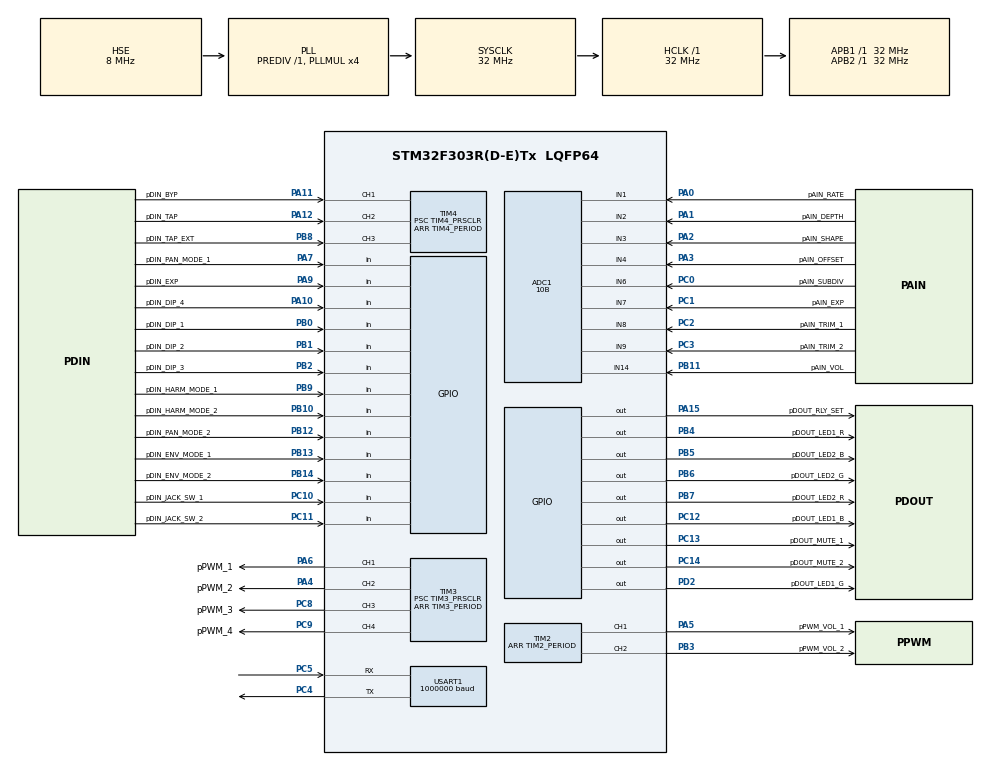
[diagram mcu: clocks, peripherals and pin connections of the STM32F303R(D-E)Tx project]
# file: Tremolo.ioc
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ADC1.Channel-10\#ChannelRegularConversion=ADC_CHANNEL_2
ADC1.Channel-11\#ChannelRegularConversion=ADC_CHANNEL_3
ADC1.Channel-12\#ChannelRegularConversion=ADC_CHANNEL_4
ADC1.Channel-13\#ChannelRegularConversion=ADC_CHANNEL_6
ADC1.Channel-14\#ChannelRegularConversion=ADC_CHANNEL_7
ADC1.Channel-15\#ChannelRegularConversion=ADC_CHANNEL_8
ADC1.Channel-16\#ChannelRegularConversion=ADC_CHANNEL_9
ADC1.Channel-17\#ChannelRegularConversion=ADC_CHANNEL_14
ADC1.Channel-9\#ChannelRegularConversion=ADC_CHANNEL_1
ADC1.ClockPrescaler=ADC_CLOCK_ASYNC_DIV1
ADC1.ContinuousConvMode=ENABLE
ADC1.DMAContinuousRequests=ENABLE
ADC1.EOCSelection=ADC_EOC_SEQ_CONV
ADC1.EnableInjectedConversion=DISABLE
ADC1.EnableRegularConversion=ENABLE
ADC1.Mode=ADC_MODE_INDEPENDENT
ADC1.NbrOfConversion=9
ADC1.NbrOfConversionFlag=1
ADC1.Offset-10\#ChannelRegularConversion=0
ADC1.Offset-11\#ChannelRegularConversion=0
ADC1.Offset-12\#ChannelRegularConversion=0
ADC1.Offset-13\#ChannelRegularConversion=0
ADC1.Offset-14\#ChannelRegularConversion=0
ADC1.Offset-15\#ChannelRegularConversion=0
ADC1.Offset-16\#ChannelRegularConversion=0
ADC1.Offset-17\#ChannelRegularConversion=0
ADC1.Offset-9\#ChannelRegularConversion=0
ADC1.OffsetNumber-10\#ChannelRegularConversion=ADC_OFFSET_NONE
ADC1.OffsetNumber-11\#ChannelRegularConversion=ADC_OFFSET_NONE
ADC1.OffsetNumber-12\#ChannelRegularConversion=ADC_OFFSET_NONE
ADC1.OffsetNumber-13\#ChannelRegularConversion=ADC_OFFSET_NONE
ADC1.OffsetNumber-14\#ChannelRegularConversion=ADC_OFFSET_NONE
ADC1.OffsetNumber-15\#ChannelRegularConversion=ADC_OFFSET_NONE
ADC1.OffsetNumber-16\#ChannelRegularConversion=ADC_OFFSET_NONE
ADC1.OffsetNumber-17\#ChannelRegularConversion=ADC_OFFSET_NONE
ADC1.OffsetNumber-9\#ChannelRegularConversion=ADC_OFFSET_NONE
ADC1.Overrun=ADC_OVR_DATA_OVERWRITTEN
ADC1.Rank-10\#ChannelRegularConversion=2
ADC1.Rank-11\#ChannelRegularConversion=3
ADC1.Rank-12\#ChannelRegularConversion=4
ADC1.Rank-13\#ChannelRegularConversion=5
ADC1.Rank-14\#ChannelRegularConversion=6
ADC1.Rank-15\#ChannelRegularConversion=7
ADC1.Rank-16\#ChannelRegularConversion=8
ADC1.Rank-17\#ChannelRegularConversion=9
ADC1.Rank-9\#ChannelRegularConversion=1
ADC1.Resolution=ADC_RESOLUTION_10B
ADC1.SamplingTime-10\#ChannelRegularConversion=ADC_SAMPLETIME_1CYCLE_5
ADC1.SamplingTime-11\#ChannelRegularConversion=ADC_SAMPLETIME_1CYCLE_5
ADC1.SamplingTime-12\#ChannelRegularConversion=ADC_SAMPLETIME_1CYCLE_5
ADC1.SamplingTime-13\#ChannelRegularConversion=ADC_SAMPLETIME_1CYCLE_5
ADC1.SamplingTime-14\#ChannelRegularConversion=ADC_SAMPLETIME_1CYCLE_5
ADC1.SamplingTime-15\#ChannelRegularConversion=ADC_SAMPLETIME_1CYCLE_5
ADC1.SamplingTime-16\#ChannelRegularConversion=ADC_SAMPLETIME_1CYCLE_5
ADC1.SamplingTime-17\#ChannelRegularConversion=ADC_SAMPLETIME_1CYCLE_5
ADC1.SamplingTime-9\#ChannelRegularConversion=ADC_SAMPLETIME_1CYCLE_5
ADC1.SamplingTimeOPAMP-10\#ChannelRegularConversion=ADC_SAMPLETIME_4CYCLES_5
ADC1.SamplingTimeOPAMP-11\#ChannelRegularConversion=ADC_SAMPLETIME_4CYCLES_5
ADC1.SamplingTimeOPAMP-12\#ChannelRegularConversion=ADC_SAMPLETIME_4CYCLES_5
ADC1.SamplingTimeOPAMP-13\#ChannelRegularConversion=ADC_SAMPLETIME_4CYCLES_5
ADC1.SamplingTimeOPAMP-14\#ChannelRegularConversion=ADC_SAMPLETIME_4CYCLES_5
ADC1.SamplingTimeOPAMP-15\#ChannelRegularConversion=ADC_SAMPLETIME_4CYCLES_5
ADC1.SamplingTimeOPAMP-16\#ChannelRegularConversion=ADC_SAMPLETIME_4CYCLES_5
ADC1.SamplingTimeOPAMP-17\#ChannelRegularConversion=ADC_SAMPLETIME_4CYCLES_5
ADC1.SamplingTimeOPAMP-9\#ChannelRegularConversion=ADC_SAMPLETIME_4CYCLES_5
ADC1.master=1
Dma.ADC1.0.Direction=DMA_PERIPH_TO_MEMORY
Dma.ADC1.0.Instance=DMA1_Channel1
Dma.ADC1.0.MemDataAlignment=DMA_MDATAALIGN_WORD
Dma.ADC1.0.MemInc=DMA_MINC_ENABLE
Dma.ADC1.0.Mode=DMA_CIRCULAR
Dma.ADC1.0.PeriphDataAlignment=DMA_PDATAALIGN_HALFWORD
Dma.ADC1.0.PeriphInc=DMA_PINC_DISABLE
Dma.ADC1.0.Priority=DMA_PRIORITY_HIGH
Dma.Request0=ADC1
Dma.Request1=TIM8_CH1
Dma.Request2=TIM8_CH2
Dma.Request3=TIM8_CH3/UP
Dma.Request4=TIM8_CH4/TRIG/COM
Dma.Request5=USART1_TX
Dma.TIM8_CH1.1.Direction=DMA_MEMORY_TO_PERIPH
Dma.TIM8_CH1.1.Instance=DMA2_Channel3
Dma.TIM8_CH1.1.MemDataAlignment=DMA_MDATAALIGN_HALFWORD
Dma.TIM8_CH1.1.MemInc=DMA_MINC_ENABLE
Dma.TIM8_CH1.1.Mode=DMA_CIRCULAR
Dma.TIM8_CH1.1.PeriphDataAlignment=DMA_PDATAALIGN_HALFWORD
Dma.TIM8_CH1.1.PeriphInc=DMA_PINC_DISABLE
Dma.TIM8_CH1.1.Priority=DMA_PRIORITY_HIGH
Dma.TIM8_CH2.2.Direction=DMA_MEMORY_TO_PERIPH
Dma.TIM8_CH2.2.Instance=DMA2_Channel5
Dma.TIM8_CH2.2.MemDataAlignment=DMA_MDATAALIGN_HALFWORD
Dma.TIM8_CH2.2.MemInc=DMA_MINC_ENABLE
Dma.TIM8_CH2.2.Mode=DMA_CIRCULAR
Dma.TIM8_CH2.2.PeriphDataAlignment=DMA_PDATAALIGN_HALFWORD
Dma.TIM8_CH2.2.PeriphInc=DMA_PINC_DISABLE
Dma.TIM8_CH2.2.Priority=DMA_PRIORITY_HIGH
Dma.TIM8_CH3/UP.3.Direction=DMA_MEMORY_TO_PERIPH
Dma.TIM8_CH3/UP.3.Instance=DMA2_Channel1
Dma.TIM8_CH3/UP.3.MemDataAlignment=DMA_MDATAALIGN_HALFWORD
Dma.TIM8_CH3/UP.3.MemInc=DMA_MINC_ENABLE
Dma.TIM8_CH3/UP.3.Mode=DMA_CIRCULAR
Dma.TIM8_CH3/UP.3.PeriphDataAlignment=DMA_PDATAALIGN_HALFWORD
Dma.TIM8_CH3/UP.3.PeriphInc=DMA_PINC_DISABLE
Dma.TIM8_CH3/UP.3.Priority=DMA_PRIORITY_HIGH
Dma.TIM8_CH4/TRIG/COM.4.Direction=DMA_MEMORY_TO_PERIPH
Dma.TIM8_CH4/TRIG/COM.4.Instance=DMA2_Channel2
Dma.TIM8_CH4/TRIG/COM.4.MemDataAlignment=DMA_MDATAALIGN_HALFWORD
Dma.TIM8_CH4/TRIG/COM.4.MemInc=DMA_MINC_ENABLE
Dma.TIM8_CH4/TRIG/COM.4.Mode=DMA_CIRCULAR
Dma.TIM8_CH4/TRIG/COM.4.PeriphDataAlignment=DMA_PDATAALIGN_HALFWORD
Dma.TIM8_CH4/TRIG/COM.4.PeriphInc=DMA_PINC_DISABLE
Dma.TIM8_CH4/TRIG/COM.4.Priority=DMA_PRIORITY_HIGH
Dma.USART1_TX.5.Direction=DMA_MEMORY_TO_PERIPH
Dma.USART1_TX.5.Instance=DMA1_Channel4
Dma.USART1_TX.5.MemDataAlignment=DMA_MDATAALIGN_BYTE
Dma.USART1_TX.5.MemInc=DMA_MINC_ENABLE
Dma.USART1_TX.5.Mode=DMA_NORMAL
Dma.USART1_TX.5.PeriphDataAlignment=DMA_PDATAALIGN_BYTE
Dma.USART1_TX.5.PeriphInc=DMA_PINC_DISABLE
Dma.USART1_TX.5.Priority=DMA_PRIORITY_LOW
Mcu.Family=STM32F3
Mcu.Name=STM32F303R(D-E)Tx
Mcu.Package=LQFP64
Mcu.UserConstants=TIM2_PERIOD,1023;TIM3_PERIOD,1023;TIM8_PRSCLR,0;TIM2_PRSCLR,0;TIM3_PRSCLR,0;TIM4_PRSCLR,1023;TIM3_CLK_DIV,0;TIM8_PERIOD,1023;TIM4_PERIOD,62500
NVIC.DMA1_Channel4_IRQn=true\:4\:0\:true\:false\:true\:false\:true\:true
NVIC.DMA2_Channel1_IRQn=true\:3\:0\:true\:false\:true\:false\:true\:true
NVIC.DMA2_Channel2_IRQn=true\:3\:0\:true\:false\:true\:false\:true\:true
NVIC.DMA2_Channel3_IRQn=true\:3\:0\:true\:false\:true\:false\:true\:true
NVIC.DMA2_Channel5_IRQn=true\:3\:0\:true\:false\:true\:false\:true\:true
NVIC.PriorityGroup=NVIC_PRIORITYGROUP_4
NVIC.TIM4_IRQn=true\:4\:0\:true\:false\:true\:true\:true\:true
NVIC.USART1_IRQn=true\:5\:0\:true\:false\:true\:true\:true\:true
PA0.GPIO_Label=pAIN_RATE
PA0.Mode=IN1-Single-Ended
PA0.Signal=ADC1_IN1
PA1.GPIO_Label=pAIN_DEPTH
PA1.Mode=IN2-Single-Ended
PA1.Signal=ADC1_IN2
PA10.GPIO_Label=pDIN_DIP_4
PA10.GPIO_PuPd=GPIO_PULLUP
PA10.Signal=GPIO_Input
PA11.GPIO_Label=pDIN_BYP
PA11.GPIO_PuPd=GPIO_PULLUP
PA11.Signal=S_TIM4_CH1
PA12.GPIO_Label=pDIN_TAP
PA12.GPIO_PuPd=GPIO_PULLUP
PA12.Signal=S_TIM4_CH2
PA13.Signal=SYS_JTMS-SWDIO
PA14.Signal=SYS_JTCK-SWCLK
PA15.GPIO_Label=pDOUT_RLY_SET
PA15.PinState=GPIO_PIN_SET
PA15.Signal=GPIO_Output
PA2.GPIO_Label=pAIN_SHAPE
PA2.Mode=IN3-Single-Ended
PA2.Signal=ADC1_IN3
PA3.GPIO_Label=pAIN_OFFSET
PA3.Mode=IN4-Single-Ended
PA3.Signal=ADC1_IN4
PA4.GPIO_Label=pPWM_2
PA4.Signal=S_TIM3_CH2
PA5.GPIO_Label=pPWM_VOL_1
PA5.GPIO_Speed=GPIO_SPEED_FREQ_HIGH
PA5.Signal=S_TIM2_CH1_ETR
PA6.GPIO_Label=pPWM_1
PA6.Signal=S_TIM3_CH1
PA7.GPIO_Label=pDIN_PAN_MODE_1
PA7.GPIO_PuPd=GPIO_PULLUP
PA7.Signal=GPIO_Input
PA9.GPIO_Label=pDIN_EXP
PA9.GPIO_PuPd=GPIO_PULLUP
PA9.Signal=GPIO_Input
PB0.GPIO_Label=pDIN_DIP_1
PB0.GPIO_PuPd=GPIO_PULLUP
PB0.Signal=GPIO_Input
PB1.GPIO_Label=pDIN_DIP_2
PB1.GPIO_PuPd=GPIO_PULLUP
PB1.Signal=GPIO_Input
PB10.GPIO_Label=pDIN_HARM_MODE_2
PB10.GPIO_PuPd=GPIO_PULLUP
PB10.Signal=GPIO_Input
PB11.GPIO_Label=pAIN_VOL
PB11.Mode=IN14-Single-Ended
PB11.Signal=ADC1_IN14
PB12.GPIO_Label=pDIN_PAN_MODE_2
PB12.GPIO_PuPd=GPIO_PULLUP
PB12.Signal=GPIO_Input
PB13.GPIO_Label=pDIN_ENV_MODE_1
PB13.GPIO_PuPd=GPIO_PULLUP
PB13.Signal=GPIO_Input
PB14.GPIO_Label=pDIN_ENV_MODE_2
PB14.GPIO_PuPd=GPIO_PULLUP
PB14.Signal=GPIO_Input
PB2.GPIO_Label=pDIN_DIP_3
PB2.GPIO_PuPd=GPIO_PULLUP
PB2.Signal=GPIO_Input
PB3.GPIO_Label=pPWM_VOL_2
PB3.GPIO_Speed=GPIO_SPEED_FREQ_HIGH
PB3.Signal=S_TIM2_CH2
PB4.GPIO_Label=pDOUT_LED1_R
PB4.PinState=GPIO_PIN_SET
PB4.Signal=GPIO_Output
PB5.GPIO_Label=pDOUT_LED2_B
PB5.PinState=GPIO_PIN_SET
PB5.Signal=GPIO_Output
PB6.GPIO_Label=pDOUT_LED2_G
PB6.PinState=GPIO_PIN_SET
PB6.Signal=GPIO_Output
PB7.GPIO_Label=pDOUT_LED2_R
PB7.PinState=GPIO_PIN_SET
PB7.Signal=GPIO_Output
PB8.GPIO_Label=pDIN_TAP_EXT
PB8.GPIO_PuPd=GPIO_PULLUP
PB8.Signal=S_TIM4_CH3
PB9.GPIO_Label=pDIN_HARM_MODE_1
PB9.GPIO_PuPd=GPIO_PULLUP
PB9.Signal=GPIO_Input
PC0.GPIO_Label=pAIN_SUBDIV
PC0.Signal=ADCx_IN6
PC1.GPIO_Label=pAIN_EXP
PC1.Signal=ADCx_IN7
PC10.GPIO_Label=pDIN_JACK_SW_1
PC10.GPIO_PuPd=GPIO_PULLUP
PC10.Signal=GPIO_Input
PC11.GPIO_Label=pDIN_JACK_SW_2
PC11.GPIO_PuPd=GPIO_PULLUP
PC11.Signal=GPIO_Input
PC12.GPIO_Label=pDOUT_LED1_B
PC12.PinState=GPIO_PIN_SET
PC12.Signal=GPIO_Output
PC13.GPIO_Label=pDOUT_MUTE_1
PC13.Signal=GPIO_Output
PC14-OSC32_IN.GPIO_Label=pDOUT_MUTE_2
PC14-OSC32_IN.Signal=GPIO_Output
PC2.GPIO_Label=pAIN_TRIM_1
PC2.Signal=ADCx_IN8
PC3.GPIO_Label=pAIN_TRIM_2
PC3.Signal=ADCx_IN9
PC4.Mode=Asynchronous
PC4.Signal=USART1_TX
PC5.Mode=Asynchronous
PC5.Signal=USART1_RX
PC8.GPIO_Label=pPWM_3
PC8.Signal=S_TIM3_CH3
PC9.GPIO_Label=pPWM_4
PC9.Signal=S_TIM3_CH4
PD2.GPIO_Label=pDOUT_LED1_G
PD2.PinState=GPIO_PIN_SET
PD2.Signal=GPIO_Output
PF0-OSC_IN.Mode=HSE-External-Oscillator
PF0-OSC_IN.Signal=RCC_OSC_IN
PF1-OSC_OUT.Mode=HSE-External-Oscillator
PF1-OSC_OUT.Signal=RCC_OSC_OUT
ProjectManager.HeapSize=0x200
ProjectManager.StackSize=0x400
ProjectManager.TargetToolchain=STM32CubeIDE
RCC.ADC12PRES=RCC_ADC12PLLCLK_DIV8
RCC.AHBFreq_Value=32000000
RCC.APB1Freq_Value=32000000
RCC.APB1TimFreq_Value=32000000
RCC.APB2Freq_Value=32000000
RCC.APB2TimFreq_Value=32000000
RCC.CortexFreq_Value=32000000
RCC.HCLKFreq_Value=32000000
RCC.HSE_VALUE=8000000
RCC.HSI_VALUE=8000000
RCC.LSE_VALUE=32768
RCC.PLLMUL=RCC_PLL_MUL4
RCC.PLLSourceVirtual=RCC_PLLSOURCE_HSE
RCC.SYSCLKFreq_VALUE=32000000
RCC.SYSCLKSourceVirtual=RCC_SYSCLKSOURCE_PLLCLK
RCC.TIM2Selection=RCC_TIM2CLK_PLLCLK
RCC.TIM34Selection=RCC_TIM34CLK_PLLCLK
RCC.TIM8Selection=RCC_TIM8CLK_PLLCLK
RCC.USBFreq_Value=32000000
SH.ADCx_IN6.0=ADC1_IN6,IN6-Single-Ended
SH.ADCx_IN6.1=ADC2_IN6
SH.ADCx_IN7.0=ADC1_IN7,IN7-Single-Ended
SH.ADCx_IN7.1=ADC2_IN7
SH.ADCx_IN8.0=ADC1_IN8,IN8-Single-Ended
SH.ADCx_IN9.0=ADC1_IN9,IN9-Single-Ended
SH.S_TIM2_CH1_ETR.0=TIM2_CH1,PWM Generation1 CH1
SH.S_TIM2_CH2.0=TIM2_CH2,PWM Generation2 CH2
SH.S_TIM3_CH1.0=TIM3_CH1,PWM Generation1 CH1
SH.S_TIM3_CH2.0=TIM3_CH2,PWM Generation2 CH2
SH.S_TIM3_CH3.0=TIM3_CH3,PWM Generation3 CH3
SH.S_TIM3_CH4.0=TIM3_CH4,PWM Generation4 CH4
SH.S_TIM4_CH1.0=TIM4_CH1,Input_Capture1_from_TI1
SH.S_TIM4_CH2.0=TIM4_CH2,Input_Capture2_from_TI2
SH.S_TIM4_CH3.0=TIM4_CH3,Input_Capture3_from_TI3
TIM2.AutoReloadPreload=TIM_AUTORELOAD_PRELOAD_ENABLE
TIM2.Channel-PWM\ Generation1\ CH1=TIM_CHANNEL_1
TIM2.Channel-PWM\ Generation2\ CH2=TIM_CHANNEL_2
TIM2.Period=TIM2_PERIOD
TIM2.TIM_MasterSlaveMode=TIM_MASTERSLAVEMODE_DISABLE
TIM3.Channel-PWM\ Generation1\ CH1=TIM_CHANNEL_1
TIM3.Channel-PWM\ Generation2\ CH2=TIM_CHANNEL_2
TIM3.Channel-PWM\ Generation3\ CH3=TIM_CHANNEL_3
TIM3.Channel-PWM\ Generation4\ CH4=TIM_CHANNEL_4
TIM3.OCPolarity_2=TIM_OCPOLARITY_HIGH
TIM3.OCPolarity_4=TIM_OCPOLARITY_HIGH
TIM3.Period=TIM3_PERIOD
TIM3.Prescaler=TIM3_PRSCLR
TIM4.Channel-Input_Capture1_from_TI1=TIM_CHANNEL_1
TIM4.Channel-Input_Capture2_from_TI2=TIM_CHANNEL_2
TIM4.Channel-Input_Capture3_from_TI3=TIM_CHANNEL_3
TIM4.ICFilter_CH1=15
TIM4.ICFilter_CH2=15
TIM4.ICFilter_CH3=15
TIM4.ICPolarity_CH1=TIM_INPUTCHANNELPOLARITY_BOTHEDGE
TIM4.ICPolarity_CH2=TIM_INPUTCHANNELPOLARITY_BOTHEDGE
TIM4.ICPolarity_CH3=TIM_INPUTCHANNELPOLARITY_BOTHEDGE
TIM4.Period=TIM4_PERIOD
TIM4.Prescaler=TIM4_PRSCLR
TIM4.TIM_MasterOutputTrigger=TIM_TRGO_RESET
TIM4.TIM_MasterSlaveMode=TIM_MASTERSLAVEMODE_DISABLE
TIM8.Channel-Output\ Compare1\ No\ Output=TIM_CHANNEL_1
TIM8.Channel-Output\ Compare2\ No\ Output=TIM_CHANNEL_2
TIM8.Channel-Output\ Compare3\ No\ Output=TIM_CHANNEL_3
TIM8.Channel-Output\ Compare4\ No\ Output=TIM_CHANNEL_4
TIM8.ClockDivision=TIM_CLOCKDIVISION_DIV1
TIM8.Period=TIM8_PERIOD
TIM8.Prescaler=TIM8_PRSCLR
USART1.BaudRate=1000000
USART1.Parity=PARITY_ODD
USART1.VirtualMode-Asynchronous=VM_ASYNC
USART1.WordLength=WORDLENGTH_9B
VP_TIM2_VS_ClockSourceINT.Mode=Internal
VP_TIM4_VS_ClockSourceITR.Mode=TriggerSource_ITR0
VP_TIM8_VS_no_output1.Mode=Output Compare1 No Output
VP_TIM8_VS_no_output2.Mode=Output Compare2 No Output
VP_TIM8_VS_no_output3.Mode=Output Compare3 No Output
VP_TIM8_VS_no_output4.Mode=Output Compare4 No Output
board=custom

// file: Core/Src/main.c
/* USER CODE BEGIN Header */
/**
  ******************************************************************************
  * @file           : main.c
  * @brief          : Main program body
  ******************************************************************************
  * @attention
  *
  * Copyright (c) 2022 STMicroelectronics.
  * All rights reserved.
  *
  * This software is licensed under terms that can be found in the LICENSE file
  * in the root directory of this software component.
  * If no LICENSE file comes with this software, it is provided AS-IS.
  *
  ******************************************************************************
  */
/* USER CODE END Header */
#include "main.h"
#include "adc.h"
#include "dma.h"
#include "tim.h"
#include "usart.h"
#include "gpio.h"

/* USER CODE BEGIN Includes */

#include "Lib/sm_bypass.h"
#include "Lib/led.h"
#include "Lib/wavetable_gen.h"
#include "Lib/param.h"
#include "Tremolo/tremolo.h"
#include "Tremolo/params.h"

#include <stdint.h>
#include <math.h>
#include <stdbool.h>

/* USER CODE END Includes */

/* USER CODE BEGIN PTD */

typedef struct {
	uint32_t *Rate;
	uint32_t *Depth;
	uint32_t *Phase;
	uint32_t *Offset;
	uint32_t *Sense;
	uint32_t *Exp;
	uint32_t *Env;
	uint32_t *Trim2;
	uint32_t *Vol;
} Adc;

uint32_t timer_freqs[] = {TIM2_FREQ_HZ, TIM3_FREQ_HZ, TIM4_FREQ_HZ, TIM8_FREQ_HZ};

/* USER CODE END PTD */

void SystemClock_Config(void);
/* USER CODE BEGIN PFP */

// INIT FUNCTIONS
void init_adc_channels(Adc*, uint32_t[]);
void init_LEDs(LED*, LED*);
void start_dma();
void start_pwm_oc();

// DEBUG
uint32_t num_transmissions = 0;

// CALLBACKS
void My_DMA_XferCpltCallback(DMA_HandleTypeDef*);
void My_DMA_XferHalfCpltCallback(DMA_HandleTypeDef*);
void My_USART_DMA_XferCpltCallback(DMA_HandleTypeDef*);

/* USER CODE END PFP */

/* USER CODE BEGIN 0 */

extern StateEffect state_effect;

uint32_t adc_array[ADC_DMA_BUF_LENGTH] = {0};
Adc adc_raw;

uint16_t wavetable_a_lo[WAVETABLE_WIDTH] = {0};
uint16_t wavetable_a_hi[WAVETABLE_WIDTH] = {0};
uint16_t wavetable_b_lo[WAVETABLE_WIDTH] = {0};
uint16_t wavetable_b_hi[WAVETABLE_WIDTH] = {0};

LED LED_bypass;
LED LED_tap;

uint32_t elapsed_sec = 0;

/*
// TODO redo this to match sm_bypass
typedef enum {
	WAITING_FIRST_TAP,
	WAITING_NEXT_TAP,
	DEBOUNCE_PRESSED,
	DEBOUNCE_RELEASED,
	PRESSED,
	HELD,
}TapState;

TapState tap_state = WAITING_NEXT_TAP;
*/

volatile EventSw event_sw_byp = SW_IDLE;
volatile EventSw event_sw_tap = SW_IDLE;

volatile uint32_t latest_tap_us = 0;

/* TODO clean up / move input capture stuff */

float vol = 0;

/* USER CODE END 0 */

int main(void)
{

  /* MCU Configuration--------------------------------------------------------*/

  /* Reset of all peripherals, Initializes the Flash interface and the Systick. */
  HAL_Init();

  /* USER CODE BEGIN Init */

  /*
    * Parameters
    */
   // CONTINUOUS
   float rate;
   float depth;
   float offset;
   float phase;
   //float vol;
   float sense;

   float env;
   float exp;
   //float ramp_mag;
   //float ramp_rate;

   // DISCRETE
   Shape shape = ERR;
   struct subdiv subdiv = {.num = 1, .denom = 4};

  /* Iniitalize state machines */

  /* USER CODE END Init */

  /* Configure the system clock */
  SystemClock_Config();

  /* USER CODE BEGIN SysInit */
  // Needs to be done first to fix bug in autogenerated code X_X
  MX_DMA_Init();
  /* USER CODE END SysInit */

  /* Initialize all configured peripherals */
  MX_GPIO_Init();
  MX_DMA_Init();
  MX_ADC1_Init();
  MX_TIM2_Init();
  MX_TIM3_Init();
  MX_USART1_UART_Init();
  MX_TIM4_Init();
  MX_TIM8_Init();
  /* USER CODE BEGIN 2 */

  init_LEDs(&LED_bypass, &LED_tap);
  init_adc_channels(&adc_raw, adc_array);
  start_dma();
  start_pwm_oc();

  HAL_GPIO_WritePin(pDOUT_LED1_R_GPIO_Port, pDOUT_LED1_R_Pin, LED_PIN_SET);
  HAL_GPIO_WritePin(pDOUT_LED1_B_GPIO_Port, pDOUT_LED1_B_Pin, LED_PIN_SET);

  /* USER CODE END 2 */

  /* Infinite loop */
  /* USER CODE BEGIN WHILE */
  while (1)
  {

	  // Read inputs
	  rate = get_rate(*adc_raw.Rate);
	  depth = get_depth(*adc_raw.Depth);
	  offset = get_offset(*adc_raw.Offset);
	  phase = get_phase_knob(*adc_raw.Phase);
	  env = get_env(*adc_raw.Env);
	  exp = get_exp(*adc_raw.Exp);
	  sense = get_sense(*adc_raw.Sense);
	  vol = get_volume(*adc_raw.Vol);
	  subdiv = get_subdiv();
	  shape = get_shape();
	  // Set things based on parameters
	  set_rate(rate, subdiv);
	  set_volume(vol);

	  // Generate wavetables
	  wavetable_gen(shape, depth, offset, get_phase(phase, 0), wavetable_a_lo,
			  WAVETABLE_WIDTH, WAVETABLE_DEPTH);
	  wavetable_gen(shape, depth, offset, get_phase(phase, 1), wavetable_a_hi,
				  WAVETABLE_WIDTH, WAVETABLE_DEPTH);
	  wavetable_gen(shape, depth, offset, get_phase(phase, 2), wavetable_b_lo,
				  WAVETABLE_WIDTH, WAVETABLE_DEPTH);
	  wavetable_gen(shape, depth, offset, get_phase(phase, 3), wavetable_b_hi,
				  WAVETABLE_WIDTH, WAVETABLE_DEPTH);

	  // Run bypass switch state machine, and reset event to IDLE
	  // TODO define TIM_IT_CC1 in main.h
	  EventSw current_event_sw_byp = __atomic_exchange_n(&event_sw_byp, SW_IDLE, __ATOMIC_SEQ_CST);
	  EventSwOutput current_event_eff = sm_byp_sw(current_event_sw_byp);
	  sm_effect(current_event_eff);
	  sm_relay_mute(state_effect, &LED_bypass);

	  // Run tap switch state machine
	  // TODO define TIM_IT_CC2 in main.h
	  __HAL_TIM_DISABLE_IT(&HTIM_BTN_IN, TIM_IT_CC2);
	  EventSw current_event_sw_tap = __atomic_exchange_n(&event_sw_tap, SW_IDLE, __ATOMIC_SEQ_CST);
	  uint32_t current_latest_tap_us = latest_tap_us;
	  __HAL_TIM_ENABLE_IT(&HTIM_BTN_IN, TIM_IT_CC2);
	  EventSwOutput sw_sm_output = sm_tap_sw(current_event_sw_tap, current_latest_tap_us);
  }
    /* USER CODE END WHILE */

}

void SystemClock_Config(void)
{
  RCC_OscInitTypeDef RCC_OscInitStruct = {0};
  RCC_ClkInitTypeDef RCC_ClkInitStruct = {0};
  RCC_PeriphCLKInitTypeDef PeriphClkInit = {0};

  /** Initializes the RCC Oscillators according to the specified parameters
  * in the RCC_OscInitTypeDef structure.
  */
  RCC_OscInitStruct.OscillatorType = RCC_OSCILLATORTYPE_HSE;
  RCC_OscInitStruct.HSEState = RCC_HSE_ON;
  RCC_OscInitStruct.HSIState = RCC_HSI_ON;
  RCC_OscInitStruct.PLL.PLLState = RCC_PLL_ON;
  RCC_OscInitStruct.PLL.PLLSource = RCC_PLLSOURCE_HSE;
  RCC_OscInitStruct.PLL.PLLMUL = RCC_PLL_MUL4;
  RCC_OscInitStruct.PLL.PREDIV = RCC_PREDIV_DIV1;
  if (HAL_RCC_OscConfig(&RCC_OscInitStruct) != HAL_OK)
  {
    Error_Handler();
  }

  /** Initializes the CPU, AHB and APB buses clocks
  */
  RCC_ClkInitStruct.ClockType = RCC_CLOCKTYPE_HCLK|RCC_CLOCKTYPE_SYSCLK
                              |RCC_CLOCKTYPE_PCLK1|RCC_CLOCKTYPE_PCLK2;
  RCC_ClkInitStruct.SYSCLKSource = RCC_SYSCLKSOURCE_PLLCLK;
  RCC_ClkInitStruct.AHBCLKDivider = RCC_SYSCLK_DIV1;
  RCC_ClkInitStruct.APB1CLKDivider = RCC_HCLK_DIV1;
  RCC_ClkInitStruct.APB2CLKDivider = RCC_HCLK_DIV1;

  if (HAL_RCC_ClockConfig(&RCC_ClkInitStruct, FLASH_LATENCY_1) != HAL_OK)
  {
    Error_Handler();
  }
  PeriphClkInit.PeriphClockSelection = RCC_PERIPHCLK_USART1|RCC_PERIPHCLK_TIM8
                              |RCC_PERIPHCLK_ADC12|RCC_PERIPHCLK_TIM2
                              |RCC_PERIPHCLK_TIM34;
  PeriphClkInit.Usart1ClockSelection = RCC_USART1CLKSOURCE_PCLK2;
  PeriphClkInit.Adc12ClockSelection = RCC_ADC12PLLCLK_DIV8;
  PeriphClkInit.Tim8ClockSelection = RCC_TIM8CLK_PLLCLK;
  PeriphClkInit.Tim2ClockSelection = RCC_TIM2CLK_PLLCLK;
  PeriphClkInit.Tim34ClockSelection = RCC_TIM34CLK_PLLCLK;
  if (HAL_RCCEx_PeriphCLKConfig(&PeriphClkInit) != HAL_OK)
  {
    Error_Handler();
  }
}

/* USER CODE BEGIN 4 */

/*
 * 	INIT/START FUNCTIONS
 */

void start_dma()
{
	// ADC DMA
	if (HAL_ADC_Start_DMA(&hadc1, adc_array, ADC_DMA_BUF_LENGTH) != HAL_OK)
	{
		Error_Handler();
	}

	// Wavetable DMA

	// Link Transfer complete callback to DMA handle:
	HDMA_WVFM_A_LO.XferCpltCallback = My_DMA_XferCpltCallback;
	HDMA_WVFM_A_LO.XferHalfCpltCallback = My_DMA_XferHalfCpltCallback;
	HDMA_WVFM_A_HI.XferCpltCallback = My_DMA_XferCpltCallback;
	HDMA_WVFM_A_HI.XferHalfCpltCallback = My_DMA_XferHalfCpltCallback;
	HDMA_WVFM_B_LO.XferCpltCallback = My_DMA_XferCpltCallback;
	HDMA_WVFM_B_LO.XferHalfCpltCallback = My_DMA_XferHalfCpltCallback;
	HDMA_WVFM_B_HI.XferCpltCallback = My_DMA_XferCpltCallback;
	HDMA_WVFM_B_HI.XferHalfCpltCallback = My_DMA_XferHalfCpltCallback;

	// First just setting all 4 channels synced to same wavetable
	__HAL_TIM_ENABLE_DMA(&HTIM_WVFM_A_LO, TIM_DMA_CC1);
	__HAL_TIM_ENABLE_DMA(&HTIM_WVFM_A_HI, TIM_DMA_CC2);
	__HAL_TIM_ENABLE_DMA(&HTIM_WVFM_B_LO, TIM_DMA_CC3);
	__HAL_TIM_ENABLE_DMA(&HTIM_WVFM_B_HI, TIM_DMA_CC4);
	__HAL_DMA_ENABLE_IT(&HDMA_WVFM_A_LO, DMA_IT_HT);
	__HAL_DMA_ENABLE_IT(&HDMA_WVFM_A_HI, DMA_IT_HT);
	__HAL_DMA_ENABLE_IT(&HDMA_WVFM_B_LO, DMA_IT_HT);
	__HAL_DMA_ENABLE_IT(&HDMA_WVFM_B_HI, DMA_IT_HT);
	HAL_DMA_Start_IT(&HDMA_WVFM_A_LO, (uint32_t)wavetable_a_lo,
			(uint32_t)&DMA_DST_PWM_A_LO, WAVETABLE_WIDTH);
	HAL_DMA_Start_IT(&HDMA_WVFM_A_HI, (uint32_t)wavetable_a_hi,
			(uint32_t)&DMA_DST_PWM_A_HI, WAVETABLE_WIDTH);
	HAL_DMA_Start_IT(&HDMA_WVFM_B_LO, (uint32_t)wavetable_b_lo,
			(uint32_t)&DMA_DST_PWM_B_LO, WAVETABLE_WIDTH);
	HAL_DMA_Start_IT(&HDMA_WVFM_B_HI, (uint32_t)wavetable_b_hi,
			(uint32_t)&DMA_DST_PWM_B_HI, WAVETABLE_WIDTH);

	/*
	  // Enable transfer complete interrupts
	  __HAL_DMA_ENABLE_IT(&hdma_tim8_ch1, DMA_IT_TC);
	  __HAL_DMA_ENABLE_IT(&hdma_tim8_ch2, DMA_IT_TC);
	  __HAL_DMA_ENABLE_IT(&hdma_tim8_ch3_up, DMA_IT_TC);
	  __HAL_DMA_ENABLE_IT(&hdma_tim8_ch4_trig_com, DMA_IT_TC);
	  // Enable transfer half complete interrupts
	  __HAL_DMA_ENABLE_IT(&hdma_tim8_ch1, DMA_IT_HT);
	  __HAL_DMA_ENABLE_IT(&hdma_tim8_ch2, DMA_IT_HT);
	  __HAL_DMA_ENABLE_IT(&hdma_tim8_ch3_up, DMA_IT_HT);
	  __HAL_DMA_ENABLE_IT(&hdma_tim8_ch4_trig_com, DMA_IT_HT);
	*/

	// USART DMA
	HAL_UART_Transmit_DMA(&HUART, (uint8_t*)wavetable_a_lo, WAVETABLE_WIDTH);

	return;
}

void start_pwm_oc()
{
	// Start PWM for Volume outputs
	if ((HAL_TIM_PWM_Start(&HTIM_VOL_A, TIM_CH_VOL_A) |
		  HAL_TIM_PWM_Start(&HTIM_VOL_B, TIM_CH_VOL_B)) != HAL_OK)
	{
		Error_Handler();
	}
	// Start PWM output for PWM timers (the ones that actually output the LFOs)
	if ((HAL_TIM_PWM_Start(&HTIM_PWM_A_LO, TIM_CH_PWM_A_LO) |
			HAL_TIM_PWM_Start(&HTIM_PWM_A_HI, TIM_CH_PWM_A_HI) |
			HAL_TIM_PWM_Start(&HTIM_PWM_B_LO, TIM_CH_PWM_B_LO) |
			HAL_TIM_PWM_Start(&HTIM_PWM_B_HI, TIM_CH_PWM_B_HI)) != HAL_OK)
	{
		Error_Handler();
	}
	// Start output compare for waveform timers (to update the wavetables)
	if ((HAL_TIM_OC_Start(&HTIM_WVFM_A_LO, TIM_CH_WVFM_A_LO) |
		HAL_TIM_OC_Start(&HTIM_WVFM_A_HI, TIM_CH_WVFM_A_HI) |
		HAL_TIM_OC_Start(&HTIM_WVFM_B_LO, TIM_CH_WVFM_B_LO) |
		HAL_TIM_OC_Start(&HTIM_WVFM_B_HI, TIM_CH_WVFM_B_HI)) != HAL_OK)
	{
		Error_Handler();
	}
	if (HAL_TIM_Base_Start_IT(&HTIM_BTN_IN) != HAL_OK)
	{
		Error_Handler();
	}
	if ((HAL_TIM_IC_Start_IT(&HTIM_BTN_IN, TIM_CH_BYP) |
		HAL_TIM_IC_Start_IT(&HTIM_BTN_IN, TIM_CH_TAP) |
		HAL_TIM_IC_Start_IT(&HTIM_BTN_IN, TIM_CH_TAP_EXT))!= HAL_OK)
	{
		Error_Handler();
	}
	return;
}

void init_params()
{
	return;
}

// This maps named Adc struct members to the DMA buffer for convenience
void init_adc_channels(Adc *adc, uint32_t adc_buffer[]){
	adc->Rate = &adc_buffer[0];
	adc->Depth = &adc_buffer[1];
	adc->Phase = &adc_buffer[2];
	adc->Offset = &adc_buffer[3];
	adc->Sense = &adc_buffer[4];
	adc->Exp = &adc_buffer[5];
	adc->Env = &adc_buffer[6];
	adc->Trim2 = &adc_buffer[7];
	adc->Vol = &adc_buffer[8];
}

// Initialize LEDs with GPIO ports/pins, and set default states
void init_LEDs(LED* LED_bypass, LED* LED_tap){
	initLED(LED_tap, GREEN, OFF,
			pDOUT_LED1_R_GPIO_Port, pDOUT_LED1_R_Pin,
			pDOUT_LED1_G_GPIO_Port, pDOUT_LED1_G_Pin,
			pDOUT_LED1_B_GPIO_Port, pDOUT_LED1_B_Pin);
	initLED(LED_bypass, GREEN, OFF,
			pDOUT_LED2_R_GPIO_Port, pDOUT_LED2_R_Pin,
			pDOUT_LED2_G_GPIO_Port, pDOUT_LED2_G_Pin,
			pDOUT_LED2_B_GPIO_Port, pDOUT_LED2_B_Pin);
}

/*
 * CALLBACKS
 */

void HAL_TIM_IC_CaptureCallback(TIM_HandleTypeDef *htim)
{
	if (htim->Channel == HAL_TIM_ACTIVE_CHANNEL_1) {
		// Bypass switch
		// TODO see if there's a better way to detect edge direction than reading the current pin state
		if (!HAL_GPIO_ReadPin(pDIN_BYP_GPIO_Port, pDIN_BYP_Pin)){
			// Falling edge (pressed)
			__atomic_store_n(&event_sw_byp, SW_NEW_PRESS, __ATOMIC_SEQ_CST);
		}
		else {
			// Rising edge (released)
			__atomic_store_n(&event_sw_byp, SW_NEW_RELEASE, __ATOMIC_SEQ_CST);
		}
	}
	if (htim->Channel == HAL_TIM_ACTIVE_CHANNEL_2) {
		// Tap switch
		if (!HAL_GPIO_ReadPin(pDIN_TAP_GPIO_Port, pDIN_TAP_Pin)){
			// Falling edge (pressed)
			latest_tap_us = (1000000 * elapsed_sec) + (HAL_TIM_ReadCapturedValue(htim, TIM_CHANNEL_2) << 4);
			__atomic_store_n(&event_sw_tap, SW_NEW_PRESS, __ATOMIC_SEQ_CST);
		}
		else {
			// Currently released
			__atomic_store_n(&event_sw_tap, SW_NEW_RELEASE, __ATOMIC_SEQ_CST);
		}
	}
	if (htim->Channel == HAL_TIM_ACTIVE_CHANNEL_3) {
		// External tap

	}
	return;
}

void HAL_TIM_PeriodElapsedCallback(TIM_HandleTypeDef *htim)
{
	elapsed_sec++;
}

void HAL_ADC_ConvCpltCallback(ADC_HandleTypeDef* hadc)
{

}

void My_DMA_XferHalfCpltCallback(DMA_HandleTypeDef *hdma)
{
	// TODO don't call function from interrupt
	//set_LED_state(&LED_tap, OFF);
	return;
}

void My_DMA_XferCpltCallback(DMA_HandleTypeDef *hdma)
{
	//set_LED_state(&LED_tap, ON);
	return;
}

void HAL_UART_TxCpltCallback(UART_HandleTypeDef *huart)
{
	// Debug

	num_transmissions++;
	//HAL_GPIO_WritePin(pDOUT_LED2_R_GPIO_Port, pDOUT_LED2_R_Pin, LED_PIN_SET);

	// End debug

	static uint8_t table_index = 0;
	static uint8_t segment = 0;

	HAL_StatusTypeDef hal_status;

	if (segment == 0) {
		// Preamble
		uint8_t preamble[3] = {0xAA, 0xAA, table_index};
		hal_status = HAL_UART_Transmit_DMA(huart, preamble, sizeof(preamble));
		if (hal_status != HAL_OK)
		{
			if (hal_status == HAL_ERROR)
			{
				Error_Handler();
			}
			else
			{
				return;
			}
		}
		segment = 1;
	}
	else if (segment == 1) {
		// Timer/Parameter info
		segment = 2;
		hal_status = HAL_UART_Transmit_DMA(huart, (uint8_t*)timer_freqs, sizeof(timer_freqs));
		if (hal_status != HAL_OK)
		{
			if (hal_status == HAL_ERROR)
			{
				Error_Handler();
			}
			else
			{
				return;
			}
		}
	}
	else if (segment == 2) {

		// Table
		uint8_t* current_table;
		switch (table_index)
		{
			case 0:
				current_table = (uint8_t*)wavetable_a_lo;
				break;
			case 1:
				current_table = (uint8_t*)wavetable_a_hi;
				break;
			case 2:
				current_table = (uint8_t*)wavetable_b_lo;
				break;
			case 3:
				current_table = (uint8_t*)wavetable_b_hi;
				break;
			default:
				break;
		}

		table_index = (table_index+1) % 4;
		segment = 0;

		hal_status = HAL_UART_Transmit_DMA(huart, current_table, WAVETABLE_WIDTH*2);
		if (hal_status != HAL_OK)
		{
			if (hal_status == HAL_ERROR)
			{
				Error_Handler();
			}
			else
			{
				return;
			}
		}

	}
	else {
		Error_Handler();
	}
	//HAL_GPIO_WritePin(pDOUT_LED2_R_GPIO_Port, pDOUT_LED2_R_Pin, LED_PIN_RESET);
	return;
}

/* USER CODE END 4 */

void Error_Handler(void)
{
  /* USER CODE BEGIN Error_Handler_Debug */
  /* User can add his own implementation to report the HAL error return state */
  __disable_irq();

  HAL_GPIO_WritePin(pDOUT_LED2_B_GPIO_Port, pDOUT_LED2_B_Pin, LED_PIN_SET);
  HAL_GPIO_WritePin(pDOUT_LED2_R_GPIO_Port, pDOUT_LED2_R_Pin, LED_PIN_SET);
  HAL_GPIO_WritePin(pDOUT_LED2_G_GPIO_Port, pDOUT_LED2_G_Pin, LED_PIN_SET);
  HAL_GPIO_WritePin(pDOUT_LED1_B_GPIO_Port, pDOUT_LED1_B_Pin, LED_PIN_SET);
  HAL_GPIO_WritePin(pDOUT_LED1_R_GPIO_Port, pDOUT_LED1_R_Pin, LED_PIN_SET);
  HAL_GPIO_WritePin(pDOUT_LED1_G_GPIO_Port, pDOUT_LED1_G_Pin, LED_PIN_SET);

  while (1)
  {
	  HAL_Delay(250);

	  HAL_GPIO_TogglePin(pDOUT_LED2_B_GPIO_Port, pDOUT_LED2_B_Pin);
	  HAL_GPIO_TogglePin(pDOUT_LED2_R_GPIO_Port, pDOUT_LED2_R_Pin);
	  HAL_GPIO_TogglePin(pDOUT_LED2_G_GPIO_Port, pDOUT_LED2_G_Pin);
	  HAL_GPIO_TogglePin(pDOUT_LED1_B_GPIO_Port, pDOUT_LED1_B_Pin);
	  HAL_GPIO_TogglePin(pDOUT_LED1_R_GPIO_Port, pDOUT_LED1_R_Pin);
	  HAL_GPIO_TogglePin(pDOUT_LED1_G_GPIO_Port, pDOUT_LED1_G_Pin);

  }
  /* USER CODE END Error_Handler_Debug */
}
